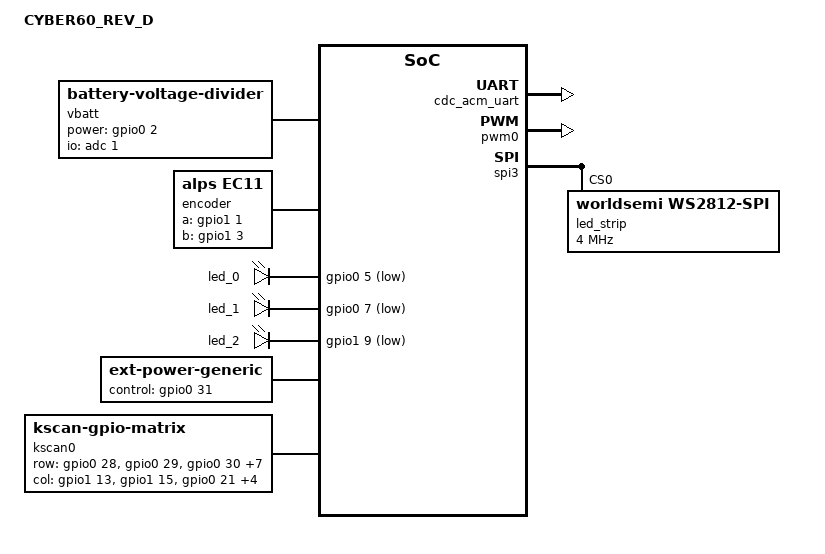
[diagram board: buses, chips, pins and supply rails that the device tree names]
/*
 * Copyright (c) 2020 Stefan Sundin (4pplet)
 *
 * SPDX-License-Identifier: MIT
 */

#include <dt-bindings/led/led.h>
#include "cyber60_rev_d-pinctrl.dtsi"
#include "cyber60_rev_d-layouts.dtsi"
#include "cyber60_rev_d-transforms.dtsi"

/ {
    model = "CYBER60_REV_D";
    compatible = "applet,cyber60";

    chosen {
        zmk,kscan = &kscan0;
        zmk,physical-layout = &layout_0;
        zmk,underglow = &led_strip;
        zmk,battery = &vbatt;
        zmk,studio-rpc-uart = &cdc_acm_uart;
    };

    vbatt: vbatt {
        compatible = "zmk,battery-voltage-divider";
        io-channels = <&adc 1>;
        output-ohms = <2000000>;
        full-ohms = <(1000000 + 2000000)>;
        power-gpios = <&gpio0 2 GPIO_ACTIVE_HIGH>;
    };

    sensors {
        compatible = "zmk,keymap-sensors";
        sensors = <&encoder>;
    };

    encoder: encoder_1 {
        compatible = "alps,ec11";
        a-gpios = <&gpio1 1 (GPIO_ACTIVE_HIGH | GPIO_PULL_UP)>;
        b-gpios = <&gpio1 3 (GPIO_ACTIVE_HIGH | GPIO_PULL_UP)>;
    };

    buzzer: pwm_buzzer {
        compatible = "pwm-buzzer";
        pwms = <&pwm0 0 1000 PWM_POLARITY_NORMAL>;
        status = "disabled";
    };

    leds {
        compatible = "gpio-leds";
        led_0: led_green {
            gpios = <&gpio0 5 GPIO_ACTIVE_LOW>;
            status = "okay";
        };
        led_1: led_red {
            gpios = <&gpio0 7 GPIO_ACTIVE_LOW>;
            status = "okay";
        };
        led_2: led_blue {
            gpios = <&gpio1 9 GPIO_ACTIVE_LOW>;
            status = "okay";
        };
    };

    aliases {
        ledgreen = &led_0;
        ledred   = &led_1;
        ledblue  = &led_2;
        buzzer = &buzzer;
    };

    ext-power {
        compatible = "zmk,ext-power-generic";
        control-gpios = <&gpio0 31 GPIO_ACTIVE_HIGH>;
    };

    kscan0: kscan {
        compatible = "zmk,kscan-gpio-matrix";
        wakeup-source;
        diode-direction = "col2row";
        row-gpios
            = <&gpio0 28  (GPIO_ACTIVE_HIGH | GPIO_PULL_DOWN)>
            , <&gpio0 29 (GPIO_ACTIVE_HIGH | GPIO_PULL_DOWN)>
            , <&gpio0 30 (GPIO_ACTIVE_HIGH | GPIO_PULL_DOWN)>
            , <&gpio1 0 (GPIO_ACTIVE_HIGH | GPIO_PULL_DOWN)>
            , <&gpio0 19 (GPIO_ACTIVE_HIGH | GPIO_PULL_DOWN)>
            , <&gpio0 22 (GPIO_ACTIVE_HIGH | GPIO_PULL_DOWN)>
            , <&gpio0 12 (GPIO_ACTIVE_HIGH | GPIO_PULL_DOWN)>
            , <&gpio1 4 (GPIO_ACTIVE_HIGH | GPIO_PULL_DOWN)>
            , <&gpio1 10 (GPIO_ACTIVE_HIGH | GPIO_PULL_DOWN)>
            , <&gpio1 11 (GPIO_ACTIVE_HIGH | GPIO_PULL_DOWN)>
            ;
        col-gpios
            = <&gpio1 13  GPIO_ACTIVE_HIGH>
            , <&gpio1 15  GPIO_ACTIVE_HIGH>
            , <&gpio0 21  GPIO_ACTIVE_HIGH>
            , <&gpio0 9 GPIO_ACTIVE_HIGH>
            , <&gpio0 10 GPIO_ACTIVE_HIGH>
            , <&gpio1 6  GPIO_ACTIVE_HIGH>
            , <&gpio1 2 GPIO_ACTIVE_HIGH>
            ;
    };
};

&usbd {
    cdc_acm_uart: cdc_acm_uart {
        compatible = "zephyr,cdc-acm-uart";
    };
};

&pwm0 {
    status = "okay";
    pinctrl-0 = <&pwm0_default>;
    pinctrl-1 = <&pwm0_sleep>;
    pinctrl-names = "default", "sleep";
};

&spi3 {
    compatible = "nordic,nrf-spim";
    status = "okay";
    pinctrl-0 = <&spi3_default>;
    pinctrl-1 = <&spi3_sleep>;
    pinctrl-names = "default", "sleep";
    led_strip: ws2812@0 {
        compatible = "worldsemi,ws2812-spi";
        reg = <0>;
        spi-max-frequency = <4000000>;
        chain-length = <16>;
        spi-one-frame = <0x70>;
        spi-zero-frame = <0x40>;
        color-mapping = <LED_COLOR_ID_GREEN LED_COLOR_ID_RED LED_COLOR_ID_BLUE>;
    };
};
